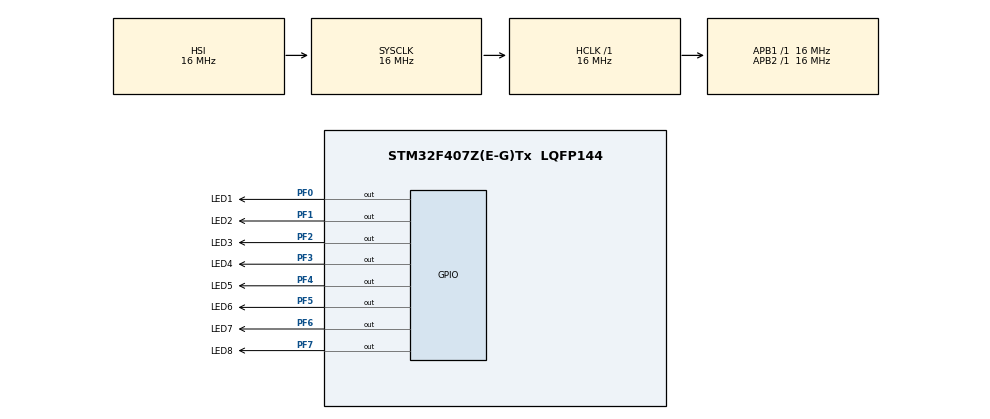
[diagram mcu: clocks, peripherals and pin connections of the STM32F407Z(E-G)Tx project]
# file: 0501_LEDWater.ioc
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Mcu.Family=STM32F4
Mcu.Name=STM32F407Z(E-G)Tx
Mcu.Package=LQFP144
NVIC.PriorityGroup=NVIC_PRIORITYGROUP_4
PA13.Mode=Serial_Wire
PA13.Signal=SYS_JTMS-SWDIO
PA14.Mode=Serial_Wire
PA14.Signal=SYS_JTCK-SWCLK
PF0.GPIO_Label=LED1
PF0.PinState=GPIO_PIN_SET
PF0.Signal=GPIO_Output
PF1.GPIO_Label=LED2
PF1.PinState=GPIO_PIN_SET
PF1.Signal=GPIO_Output
PF2.GPIO_Label=LED3
PF2.PinState=GPIO_PIN_SET
PF2.Signal=GPIO_Output
PF3.GPIO_Label=LED4
PF3.PinState=GPIO_PIN_SET
PF3.Signal=GPIO_Output
PF4.GPIO_Label=LED5
PF4.PinState=GPIO_PIN_SET
PF4.Signal=GPIO_Output
PF5.GPIO_Label=LED6
PF5.PinState=GPIO_PIN_SET
PF5.Signal=GPIO_Output
PF6.GPIO_Label=LED7
PF6.PinState=GPIO_PIN_SET
PF6.Signal=GPIO_Output
PF7.GPIO_Label=LED8
PF7.PinState=GPIO_PIN_SET
PF7.Signal=GPIO_Output
PH0-OSC_IN.Mode=HSE-External-Oscillator
PH0-OSC_IN.Signal=RCC_OSC_IN
PH1-OSC_OUT.Mode=HSE-External-Oscillator
PH1-OSC_OUT.Signal=RCC_OSC_OUT
ProjectManager.HeapSize=0x200
ProjectManager.StackSize=0x400
ProjectManager.TargetToolchain=MDK-ARM V5.32
RCC.AHBFreq_Value=16000000
RCC.APB1Freq_Value=16000000
RCC.APB2Freq_Value=16000000
RCC.CortexFreq_Value=16000000
RCC.HSE_VALUE=25000000
RCC.HSI_VALUE=16000000
RCC.LSE_VALUE=32768
RCC.SYSCLKFreq_VALUE=16000000
RCC.VCOOutputFreq_Value=192000000
board=custom

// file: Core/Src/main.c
/* USER CODE BEGIN Header */
/**
  ******************************************************************************
  * @file           : main.c
  * @brief          : Main program body
  ******************************************************************************
  * @attention
  *
  * Copyright (c) 2026 STMicroelectronics.
  * All rights reserved.
  *
  * This software is licensed under terms that can be found in the LICENSE file
  * in the root directory of this software component.
  * If no LICENSE file comes with this software, it is provided AS-IS.
  *
  ******************************************************************************
  */
/* USER CODE END Header */
#include "main.h"
#include "gpio.h"

void SystemClock_Config(void);

/* USER CODE BEGIN 0 */
void delay(uint32_t i)
{
	while(i--);
}
/* USER CODE END 0 */

int main(void)
{

  /* MCU Configuration--------------------------------------------------------*/

  /* Reset of all peripherals, Initializes the Flash interface and the Systick. */
  HAL_Init();

  /* Configure the system clock */
  SystemClock_Config();

  /* Initialize all configured peripherals */
  MX_GPIO_Init();

  /* Infinite loop */
  /* USER CODE BEGIN WHILE */
  while (1)
  {
		GPIOF->ODR=0xFE;
    delay(2500000);
    GPIOF->ODR=0xFD;
    delay(2500000);
    GPIOF->ODR=0xFB;
    delay(2500000);
    GPIOF->ODR=0xF7;
    delay(2500000);
    GPIOF->ODR=0xEF;
    delay(2500000);
    GPIOF->ODR=0xDF;
    delay(2500000);
    GPIOF->ODR=0xBF;
    delay(2500000);
    GPIOF->ODR=0x7F;
    delay(2500000);
    /* USER CODE END WHILE */

  }
}

void SystemClock_Config(void)
{
  RCC_OscInitTypeDef RCC_OscInitStruct = {0};
  RCC_ClkInitTypeDef RCC_ClkInitStruct = {0};

  /** Configure the main internal regulator output voltage
  */
  __HAL_RCC_PWR_CLK_ENABLE();
  __HAL_PWR_VOLTAGESCALING_CONFIG(PWR_REGULATOR_VOLTAGE_SCALE1);

  /** Initializes the RCC Oscillators according to the specified parameters
  * in the RCC_OscInitTypeDef structure.
  */
  RCC_OscInitStruct.OscillatorType = RCC_OSCILLATORTYPE_HSI;
  RCC_OscInitStruct.HSIState = RCC_HSI_ON;
  RCC_OscInitStruct.HSICalibrationValue = RCC_HSICALIBRATION_DEFAULT;
  RCC_OscInitStruct.PLL.PLLState = RCC_PLL_NONE;
  if (HAL_RCC_OscConfig(&RCC_OscInitStruct) != HAL_OK)
  {
    Error_Handler();
  }

  /** Initializes the CPU, AHB and APB buses clocks
  */
  RCC_ClkInitStruct.ClockType = RCC_CLOCKTYPE_HCLK|RCC_CLOCKTYPE_SYSCLK
                              |RCC_CLOCKTYPE_PCLK1|RCC_CLOCKTYPE_PCLK2;
  RCC_ClkInitStruct.SYSCLKSource = RCC_SYSCLKSOURCE_HSI;
  RCC_ClkInitStruct.AHBCLKDivider = RCC_SYSCLK_DIV1;
  RCC_ClkInitStruct.APB1CLKDivider = RCC_HCLK_DIV1;
  RCC_ClkInitStruct.APB2CLKDivider = RCC_HCLK_DIV1;

  if (HAL_RCC_ClockConfig(&RCC_ClkInitStruct, FLASH_LATENCY_0) != HAL_OK)
  {
    Error_Handler();
  }
}

void Error_Handler(void)
{
  __disable_irq();
  while (1)
  {
  }
}
